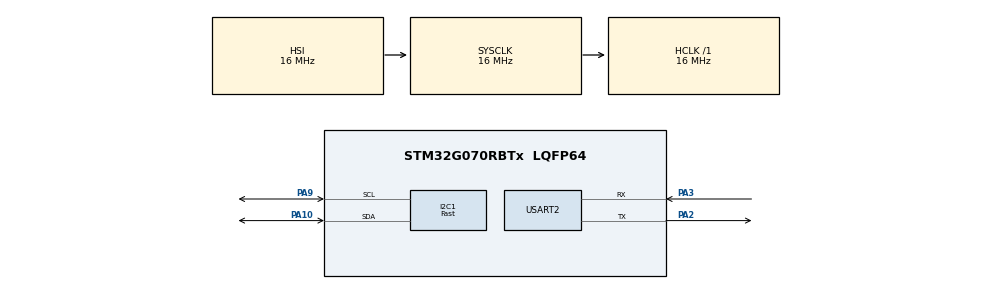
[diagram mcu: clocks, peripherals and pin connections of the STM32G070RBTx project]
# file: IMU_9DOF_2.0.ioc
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I2C1.I2C_Speed_Mode=I2C_Fast
I2C1.Speed=400
I2C1.Timing=0x0010061A
Mcu.Family=STM32G0
Mcu.Name=STM32G070RBTx
Mcu.Package=LQFP64
PA10.Mode=I2C
PA10.Signal=I2C1_SDA
PA2.Mode=Asynchronous
PA2.Signal=USART2_TX
PA3.Mode=Asynchronous
PA3.Signal=USART2_RX
PA9.Mode=I2C
PA9.Signal=I2C1_SCL
ProjectManager.HeapSize=0x200
ProjectManager.StackSize=0x400
ProjectManager.TargetToolchain=STM32CubeIDE
RCC.AHBFreq_Value=16000000
RCC.CortexFreq_Value=16000000
RCC.EXTERNAL_CLOCK_VALUE=48000
RCC.HCLKFreq_Value=16000000
RCC.HSE_VALUE=8000000
RCC.HSI_VALUE=16000000
RCC.LSE_VALUE=32768
RCC.SYSCLKFreq_VALUE=16000000
RCC.VCOOutputFreq_Value=128000000
USART2.VirtualMode-Asynchronous=VM_ASYNC
VP_SYS_VS_DBSignals.Mode=DisableDeadBatterySignals
board=custom

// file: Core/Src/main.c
/* USER CODE BEGIN Header */
/**
  ******************************************************************************
  * @file           : main.c
  * @brief          : Main program body
  ******************************************************************************
  * @attention
  *
  * <h2><center>&copy; Copyright (c) 2022 STMicroelectronics.
  * All rights reserved.</center></h2>
  *
  * This software component is licensed by ST under BSD 3-Clause license,
  * the "License"; You may not use this file except in compliance with the
  * License. You may obtain a copy of the License at:
  *                        opensource.org/licenses/BSD-3-Clause
  *
  ******************************************************************************
  */
/* USER CODE END Header */
#include "main.h"
#include "i2c.h"
#include "usart.h"
#include "gpio.h"

/* USER CODE BEGIN Includes */
#include <stdio.h>
#include "MPU9250.h"
/* USER CODE END Includes */

void SystemClock_Config(void);

/* USER CODE BEGIN 0 */
struct imu_9dof
{
	int16_t acc_data[3];
	int16_t mag_data[3];
	int16_t gyro_data[3];
};

struct imu_9dof_calc
{
	double acc_data_calc[3];
	double gyro_data_calc[3];
};

void imu_9dof_convert(struct imu_9dof * input, struct imu_9dof_calc * output)
{
	output->acc_data_calc[0] = (double) input->acc_data[0] / 16384;
	output->acc_data_calc[1] = (double) input->acc_data[1] / 16384;
	output->acc_data_calc[2] = (double) input->acc_data[2] / 16384;
	output->gyro_data_calc[0] = (double) input->gyro_data[0] * 250 / 32768;
	output->gyro_data_calc[1] = (double) input->gyro_data[1] * 250 / 32768;
	output->gyro_data_calc[2] = (double) input->gyro_data[2] * 250 / 32768;
}

void imu_9dof_get_data(struct imu_9dof * imu_9dof_data, struct imu_9dof_calc * imu_9dof_calculated)
{
    MPU9250_GetData(imu_9dof_data->acc_data, imu_9dof_data->mag_data, imu_9dof_data->gyro_data);
    imu_9dof_convert(&imu_9dof_data, &imu_9dof_calculated);
}

/* USER CODE END 0 */

int main(void)
{

  /* MCU Configuration--------------------------------------------------------*/

  /* Reset of all peripherals, Initializes the Flash interface and the Systick. */
  HAL_Init();

  /* Configure the system clock */
  SystemClock_Config();

  /* Initialize all configured peripherals */
  MX_GPIO_Init();
  MX_I2C1_Init();
  MX_USART2_UART_Init();
  /* USER CODE BEGIN 2 */
     struct imu_9dof imu_9dof_data;
     struct imu_9dof_calc imu_9dof_calculated;

  /* USER CODE END 2 */

  /* Infinite loop */
  while (1)
  {
	  	 imu_9dof_get_data(&imu_9dof_data, &imu_9dof_calculated);
  }
}

void SystemClock_Config(void)
{
  RCC_OscInitTypeDef RCC_OscInitStruct = {0};
  RCC_ClkInitTypeDef RCC_ClkInitStruct = {0};
  RCC_PeriphCLKInitTypeDef PeriphClkInit = {0};

  /** Configure the main internal regulator output voltage
  */
  HAL_PWREx_ControlVoltageScaling(PWR_REGULATOR_VOLTAGE_SCALE1);
  /** Initializes the RCC Oscillators according to the specified parameters
  * in the RCC_OscInitTypeDef structure.
  */
  RCC_OscInitStruct.OscillatorType = RCC_OSCILLATORTYPE_HSI;
  RCC_OscInitStruct.HSIState = RCC_HSI_ON;
  RCC_OscInitStruct.HSIDiv = RCC_HSI_DIV1;
  RCC_OscInitStruct.HSICalibrationValue = RCC_HSICALIBRATION_DEFAULT;
  RCC_OscInitStruct.PLL.PLLState = RCC_PLL_NONE;
  if (HAL_RCC_OscConfig(&RCC_OscInitStruct) != HAL_OK)
  {
    Error_Handler();
  }
  /** Initializes the CPU, AHB and APB buses clocks
  */
  RCC_ClkInitStruct.ClockType = RCC_CLOCKTYPE_HCLK|RCC_CLOCKTYPE_SYSCLK
                              |RCC_CLOCKTYPE_PCLK1;
  RCC_ClkInitStruct.SYSCLKSource = RCC_SYSCLKSOURCE_HSI;
  RCC_ClkInitStruct.AHBCLKDivider = RCC_SYSCLK_DIV1;
  RCC_ClkInitStruct.APB1CLKDivider = RCC_HCLK_DIV1;

  if (HAL_RCC_ClockConfig(&RCC_ClkInitStruct, FLASH_LATENCY_0) != HAL_OK)
  {
    Error_Handler();
  }
  /** Initializes the peripherals clocks
  */
  PeriphClkInit.PeriphClockSelection = RCC_PERIPHCLK_USART2|RCC_PERIPHCLK_I2C1;
  PeriphClkInit.Usart2ClockSelection = RCC_USART2CLKSOURCE_PCLK1;
  PeriphClkInit.I2c1ClockSelection = RCC_I2C1CLKSOURCE_PCLK1;
  if (HAL_RCCEx_PeriphCLKConfig(&PeriphClkInit) != HAL_OK)
  {
    Error_Handler();
  }
}

void Error_Handler(void)
{
  __disable_irq();
  while (1)
  {
  }
}

/************************ (C) COPYRIGHT STMicroelectronics *****END OF FILE****/
